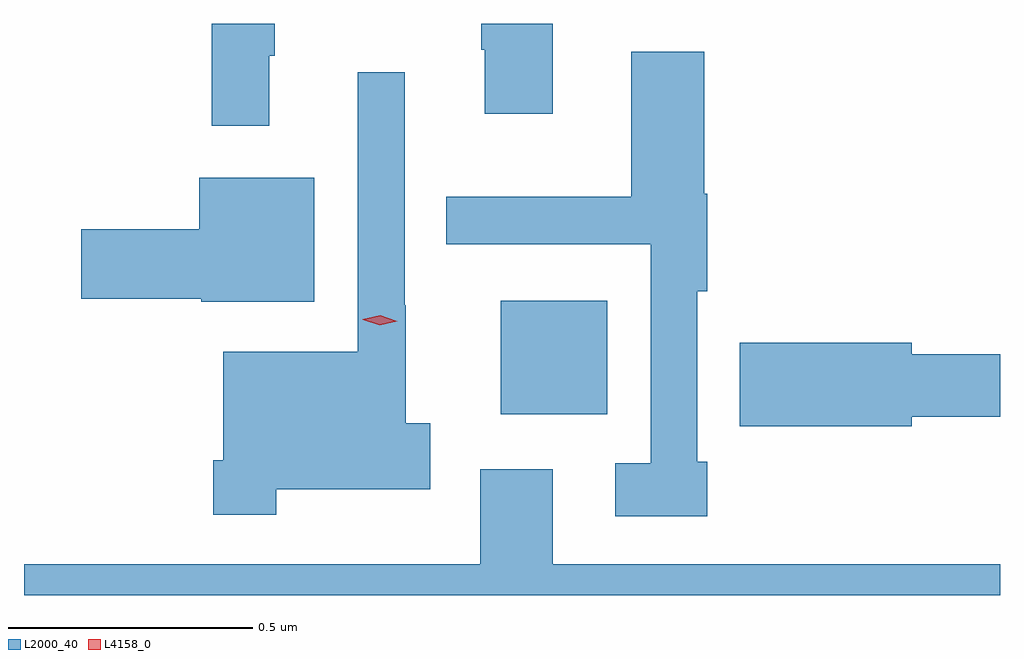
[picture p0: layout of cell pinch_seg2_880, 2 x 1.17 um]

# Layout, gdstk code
import gdstk
lib = gdstk.Library(unit=1e-6, precision=1e-09)
def R(c, l, rs):  # rectangles x0, y0, x1, y1
    for r in rs: c.add(gdstk.rectangle(r[:2], r[2:], *l))
def P(c, l, *ps):  # polygons
    for p in ps: c.add(gdstk.Polygon(p, *l))
L2000_40 = (2000, 40)
L4158_0 = (4158, 0)

pinch_seg2_880 = lib.new_cell('pinch_seg2_880')
R(pinch_seg2_880, L2000_40, [(538.268,584.171,538.486,584.404)])
P(pinch_seg2_880, L2000_40, [(537.794,584.906),(537.805,584.906),(537.805,584.972),(537.676,584.972),(537.676,584.763),(537.794,584.763)],
  [(538.375,584.972),(538.228,584.972),(538.228,584.918),(538.235,584.918),(538.235,584.787),(538.375,584.787)],
  [(538.691,584.074),(538.671,584.074),(538.671,584.423),(538.691,584.423),(538.691,584.623),(538.685,584.623),(538.685,584.914),(538.535,584.914),(538.535,584.617),(538.156,584.617),(538.156,584.52),(538.575,584.52),(538.575,584.071),(538.503,584.071),(538.503,583.962),(538.691,583.962)],
  [(537.808,584.018),(538.123,584.018),(538.123,584.153),(538.073,584.153),(538.073,584.395),(538.071,584.395),(538.071,584.872),(537.975,584.872),(537.975,584.299),(537.699,584.299),(537.699,584.077),(537.679,584.077),(537.679,583.965),(537.808,583.965)],
  [(537.886,584.656),(537.65,584.656),(537.65,584.55),(537.408,584.55),(537.408,584.408),(537.654,584.408),(537.654,584.402),(537.886,584.402)],
  [(539.11,584.166),(539.291,584.166),(539.291,584.294),(539.11,584.294),(539.11,584.318),(538.758,584.318),(538.758,584.147),(539.11,584.147)],
  [(539.291,583.864),(538.375,583.864),(538.375,584.059),(538.226,584.059),(538.226,583.864),(537.291,583.864),(537.291,583.8),(539.291,583.8)])
P(pinch_seg2_880, L4158_0, [(538.02,584.354),(537.985,584.365),(537.985,584.365),(537.985,584.366),(538.021,584.374),(538.056,584.362),(538.056,584.362),(538.056,584.362)])

lib.write_gds('pinch_seg2_880.gds')
